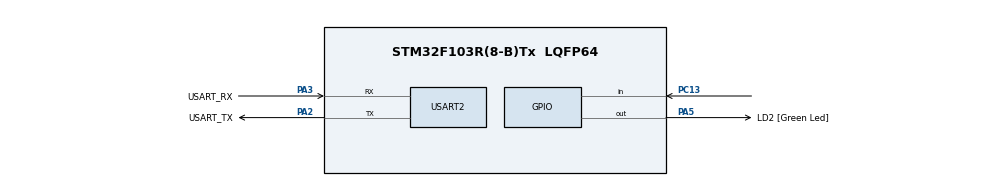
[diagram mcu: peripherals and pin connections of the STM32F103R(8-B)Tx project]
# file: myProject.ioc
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Mcu.Family=STM32F1
PC15-OSC32_OUT.Mode=LSE-External-Oscillator
PA2.GPIO_PuPd=GPIO_NOPULL
PD1-OSC_OUT.Mode=HSE-External-Clock-Source
PA14.GPIO_Label=TCK
PA3.GPIO_PuPd=GPIO_NOPULL
PA2.GPIO_Speed=GPIO_SPEED_FREQ_LOW
PC13-TAMPER-RTC.Signal=GPIO_Input
PD0-OSC_IN.Signal=RCC_OSC_IN
RCC.APB1CLKDivider=RCC_HCLK_DIV2
PC14-OSC32_IN.Signal=RCC_OSC32_IN
PA3.GPIO_Speed=GPIO_SPEED_FREQ_LOW
RCC.SYSCLKSource=RCC_SYSCLKSOURCE_PLLCLK
ProjectManager.StackSize=0x400
PD1-OSC_OUT.Signal=RCC_OSC_OUT
PA13.Signal=SYS_JTMS-SWDIO
PA3.Mode=Asynchronous
ProjectManager.TargetToolchain=MDK-ARM V5.27
PA3.GPIO_Mode=GPIO_MODE_AF_PP
RCC.HCLKFreq_Value=16000000
RCC.APB2TimFreq_Value=16000000
RCC.USBFreq_Value=16000000
PC15-OSC32_OUT.Signal=RCC_OSC32_OUT
RCC.AHBFreq_Value=16000000
PD0-OSC_IN.Mode=HSE-External-Clock-Source
PA5.Signal=GPIO_Output
board=NUCLEO-F103RB
RCC.RTCClockSelection=RCC_RTCCLKSOURCE_LSE
RCC.PLLMUL=RCC_PLL_MUL4
RCC.APB2Freq_Value=16000000
PC14-OSC32_IN.Mode=LSE-External-Oscillator
PA5.GPIO_ModeDefaultOutputPP=GPIO_MODE_OUTPUT_PP
PA14.Mode=Serial_Wire
PA5.GPIO_PuPd=GPIO_NOPULL
PA13.Mode=Serial_Wire
Mcu.Name=STM32F103R(8-B)Tx
PA2.Signal=USART2_TX
PA13.GPIO_Label=TMS
PB3.Signal=SYS_JTDO-TRACESWO
RCC.SYSCLKFreq_VALUE=16000000
Mcu.Package=LQFP64
PA5.GPIO_Label=LD2 [Green Led]
USART2.VirtualMode=VM_ASYNC
PA2.GPIO_Label=USART_TX
PA14.Signal=SYS_JTCK-SWCLK
ProjectManager.HeapSize=0x200
PA5.GPIO_Speed=GPIO_SPEED_FREQ_LOW
NVIC.PriorityGroup=NVIC_PRIORITYGROUP_4
RCC.APB1TimFreq_Value=16000000
PA2.Mode=Asynchronous
RCC.APB1Freq_Value=8000000
PA3.GPIO_Label=USART_RX
PA3.Signal=USART2_RX
PA2.GPIO_Mode=GPIO_MODE_AF_PP
PB3.GPIO_Label=SWO

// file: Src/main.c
/* USER CODE BEGIN Header */
/**
  ******************************************************************************
  * @file           : main.c
  * @brief          : Main program body
  ******************************************************************************
  * @attention
  *
  * <h2><center>&copy; Copyright (c) 2020 STMicroelectronics.
  * All rights reserved.</center></h2>
  *
  * This software component is licensed by ST under BSD 3-Clause license,
  * the "License"; You may not use this file except in compliance with the
  * License. You may obtain a copy of the License at:
  *                        opensource.org/licenses/BSD-3-Clause
  *
  ******************************************************************************
  */
/* USER CODE END Header */

//inclusion des bibliotheques
#include "main.h"
#include "usart.h"
#include "gpio.h"
#include "led.h"
#include "button.h"

/* USER CODE BEGIN PV */

//definitios des variables globales

	LED_TypeDef ledV; //led verte
	LED_TypeDef ledR; //led rouge
	LED_TypeDef ledO; //led orange
	LED_TypeDef ledB; //led blanche

	BUTTON_TypeDef buttonA; // button A en pull down
	BUTTON_TypeDef buttonB; // button B en pull down
	BUTTON_TypeDef buttonC; // button C en pull down
	BUTTON_TypeDef buttonD; // button D en pull down
	BUTTON_TypeDef buttonE; // button Valider en pull down

	uint8_t current_stateA; //pour récupéré l'état du bouton
	uint8_t current_stateB;
	uint8_t current_stateC;
	uint8_t current_stateD;
	uint8_t current_stateE;

	uint8_t box_open;//porte ourverte =1, porte fermée =0

/* USER CODE END PV */

void SystemClock_Config(void);

//définitions des prototypes de nos fonctions

void Led_Polling(LED_TypeDef *led2); //fait clogoter une led passée en parametre
uint8_t checkCombinaison(uint8_t num);//recupère les entrées des boutons dans des variables pour pouoir les tester par la suite
uint8_t testOpenning(uint8_t num1, uint8_t num2, uint8_t num3, uint8_t num4, uint8_t num5, uint8_t code1, uint8_t code2, uint8_t code3,
uint8_t code4, uint8_t code5);//test si la combinaison entrée est la bonne (5 c'est la bonne sinon ce n'est pas la bonne)

int main(void) //fonction pricipale
{
  /* USER CODE BEGIN 1 */

	//code défini par l'user
		uint8_t code1=5;
		uint8_t code2=5;
		uint8_t code3=5;
		uint8_t code4=5;
		uint8_t code5=5;

	//boutons représentant le digicode (prends une valeur entre 0 et 3 A=0, B=1, C=2, D=3, E=4)
		uint8_t num1 =5;
		uint8_t num2 =5;
		uint8_t num3 =5;
		uint8_t num4 =5;
		uint8_t num5 =5;

	uint8_t result=0;//variable stockage

	box_open =1;//coffre ouvert à l'origine

  /* USER CODE END 1 */

  /* MCU Configuration--------------------------------------------------------*/

  /* Reset of all peripherals, Initializes the Flash interface and the Systick. */

  LL_APB2_GRP1_EnableClock(LL_APB2_GRP1_PERIPH_AFIO);
  LL_APB1_GRP1_EnableClock(LL_APB1_GRP1_PERIPH_PWR);

  NVIC_SetPriorityGrouping(NVIC_PRIORITYGROUP_4);

  /* System interrupt init*/

  /** NOJTAG: JTAG-DP Disabled and SW-DP Enabled
  */
  LL_GPIO_AF_Remap_SWJ_NOJTAG();

  /* Configure the system clock */
  SystemClock_Config();

  /* Initialize all configured peripherals */
  MX_GPIO_Init();
  MX_USART2_UART_Init();
  /* USER CODE BEGIN 2 */
//initialisation des Led avec les pin auquels elles sont connectées
		Led_init(&ledV, GPIOA, 6);
		Led_init(&ledR, GPIOA, 7);
		Led_init(&ledO, GPIOA, 8);
		Led_init(&ledB, GPIOA, 9);

//on définit les led comme toutes eteintes au début du code par sécurité
		Led_turnOff(&ledV);
		Led_turnOff(&ledR);
		Led_turnOff(&ledO);
		Led_turnOff(&ledB);

//initialisation des boutons avec les pin auquels ils sont connectés en pull down
		Button_init(&buttonA, GPIOB, 1,  LL_GPIO_PD);
		Button_init(&buttonB, GPIOB, 2,  LL_GPIO_PD);
		Button_init(&buttonC, GPIOB, 3,  LL_GPIO_PD);
		Button_init(&buttonD, GPIOB, 4,  LL_GPIO_PD);
		Button_init(&buttonE, GPIOB, 5,  LL_GPIO_PD);

//on récupère l'état des boutons
		current_stateA = Button_State(&buttonA);
		current_stateB = Button_State(&buttonB);
		current_stateC = Button_State(&buttonC);
		current_stateD = Button_State(&buttonD);
		current_stateE = Button_State(&buttonE);

		box_open = 1;//laporte est ouverte au lancement du code

  /* USER CODE END 2 */

  /* Infinite loop */
  /* USER CODE BEGIN WHILE */
  while (1)//loop infinie
  {

		if(box_open == 0)//si la porte est fermée
		{
			while(num1==5 || num2==5 ||num3==5 || num4==5 || num5==5)//tant que l'utilisateur n'a pas tapé 5 fois sur un ou plusieurs boutons
			{
				while(num1==5)//tant que l'utilisateur n'a pas tapé 1 fois sur un bouton
				{
					//on récupère l'état des boutons
					current_stateA = Button_State(&buttonA);
					current_stateB = Button_State(&buttonB);
					current_stateC = Button_State(&buttonC);
					current_stateD = Button_State(&buttonD);
					current_stateE = Button_State(&buttonE);

					num1=checkCombinaison(num1);//on appelle la fonction qui renvoie sur quel bouton on a appuyé
				}

				while(num2==5)//tant que l'utilisateur n'a pas tapé 2 fois sur un/des bouton(s)
				{
					//on récupère l'état des boutons
					current_stateA = Button_State(&buttonA);
					current_stateB = Button_State(&buttonB);
					current_stateC = Button_State(&buttonC);
					current_stateD = Button_State(&buttonD);
					current_stateE = Button_State(&buttonE);

					num2=checkCombinaison(num2);//on appelle la fonction qui renvoie sur quel bouton on a appuyé
				}

				while(num3==5)//tant que l'utilisateur n'a pas tapé 3 fois sur un/des bouton(s)
				{
					//on récupère l'état des boutons
					current_stateA = Button_State(&buttonA);
					current_stateB = Button_State(&buttonB);
					current_stateC = Button_State(&buttonC);
					current_stateD = Button_State(&buttonD);
					current_stateE = Button_State(&buttonE);

					num3=checkCombinaison(num3);//on appelle la fonction qui renvoie sur quel bouton on a appuyé

				}

				while(num4==5)//tant que l'utilisateur n'a pas tapé 4 fois sur un/des bouton(s)
				{
					//on récupère l'état des boutons
					current_stateA = Button_State(&buttonA);
					current_stateB = Button_State(&buttonB);
					current_stateC = Button_State(&buttonC);
					current_stateD = Button_State(&buttonD);
					current_stateE = Button_State(&buttonE);

					num4=checkCombinaison(num4);//on appelle la fonction qui renvoie sur quel bouton on a appuyé
				}

				while(num5==5)//tant que l'utilisateur n'a pas tapé 5 fois sur un/des bouton(s)
				{
					//on récupère l'état des boutons
					current_stateA = Button_State(&buttonA);
					current_stateB = Button_State(&buttonB);
					current_stateC = Button_State(&buttonC);
					current_stateD = Button_State(&buttonD);
					current_stateE = Button_State(&buttonE);

					num5=checkCombinaison(num5);//on appelle la fonction qui renvoie sur quel bouton on a appuyé
				}
			}

			result=testOpenning(num1,num2,num3,num4, num5, code1, code2, code3, code4, code5);//on appelle la fonction qui renvoie le nombre de boutons entrés correcte

			if(result == 5)//si toutes les entrées sont correctes (c'est la bonne séquence)
			{
				//on allume la led verte 3 secondes pour montrer que le code tapé est correcte , toutes les autres led sont eteintes par sécurité
				Led_turnOn(&ledV);
				Led_turnOff(&ledR);
				Led_turnOff(&ledB);
				box_open = 1;// on définit la porte comme ouverte
				LL_mDelay(3000);
				Led_turnOff(&ledV);
				Led_Polling(&ledO);//la led orange clignote pour simuler l'ouverture de la porte

			}
			else
			{
				//on allume la led rouge 3 secondes pour montrer que le code tapé est faux, toutes les autres led sont eteintes par sécurité
				Led_turnOff(&ledV);
				Led_turnOn(&ledR);
				Led_turnOff(&ledB);
				Led_turnOff(&ledO);
				LL_mDelay(3000);
				Led_turnOff(&ledR);

			}
			//reinitialisation des chiffres entrés pour puvoir retenté d'ouvrir le coffre
				num1=5;
				num2=5;
				num3=5;
				num4=5;
				num5=5;

			//reinitialisation du compteur pour pouvoir retenté d'ouvrir le coffre et par sécurité
			result=0;

		}
		else //box open == 1 ( la porte est ouverte)
		{
	//on allume la led blanche qui signifie qu'on est en train de changer le code et toutes les autres led sont eteintes par securité
			Led_turnOff(&ledV);
			Led_turnOff(&ledR);
			Led_turnOn(&ledB);
			Led_turnOff(&ledO);

			//on réinitialise le code pour que l'utilisateur puisse en saisir un nouveau
			code1=5;
			code2=5;
			code3=5;
			code4=5;
			code5=5;

			while(code1==5 || code2==5 || code3==5 || code4==5 || code5==5)//l'utilisateur n'a appuyé sur aucun bouton
			{

				while(code1==5)//tant que l'utilisateur n'a pas tapé 1 fois sur un bouton
				{
						//on récupère l'état des boutons
						current_stateA = Button_State(&buttonA);
						current_stateB = Button_State(&buttonB);
						current_stateC = Button_State(&buttonC);
						current_stateD = Button_State(&buttonD);
						current_stateE = Button_State(&buttonE);

					code1=checkCombinaison(code1);//on appelle la fonction qui renvoie sur quel bouton on a appuyé
					}
				while (code2==5)//tant que l'utilisateur n'a pas tapé 2 fois sur un/des bouton(s)
				{
					//on récupère l'état des boutons
					current_stateA = Button_State(&buttonA);
					current_stateB = Button_State(&buttonB);
					current_stateC = Button_State(&buttonC);
					current_stateD = Button_State(&buttonD);
					current_stateE = Button_State(&buttonE);

					code2=checkCombinaison(code2);//on appelle la fonction qui renvoie sur quel bouton on a appuyé
				}

				while(code3==5)//tant que l'utilisateur n'a pas tapé 3 fois sur un/des bouton(s)
				{
					//on récupère l'état des boutons
					current_stateA = Button_State(&buttonA);
					current_stateB = Button_State(&buttonB);
					current_stateC = Button_State(&buttonC);
					current_stateD = Button_State(&buttonD);
					current_stateE = Button_State(&buttonE);

					code3=checkCombinaison(code3);//on appelle la fonction qui renvoie sur quel bouton on a appuyé
				}

				while(code4==5)//tant que l'utilisateur n'a pas tapé 4 fois sur un/des bouton(s)
				{
					//on récupère l'état des boutons
					current_stateA = Button_State(&buttonA);
					current_stateB = Button_State(&buttonB);
					current_stateC = Button_State(&buttonC);
					current_stateD = Button_State(&buttonD);
					current_stateE = Button_State(&buttonE);

					code4=checkCombinaison(code4);//on appelle la fonction qui renvoie sur quel bouton on a appuyé
				}

				while(code5==5)//tant que l'utilisateur n'a pas tapé 5 fois sur un/des bouton(s)
				{
					//on récupère l'état des boutons
					current_stateA = Button_State(&buttonA);
					current_stateB = Button_State(&buttonB);
					current_stateC = Button_State(&buttonC);
					current_stateD = Button_State(&buttonD);
					current_stateE = Button_State(&buttonE);

					code5=checkCombinaison(code5);//on appelle la fonction qui renvoie sur quel bouton on a appuyé
				}
			}

			//on fait clignoter la led orange pour simuler la fermeture de la porte et qon éteind la led blanche pour signaler que l'on sort du mode "changement de code", toutes les autres led sont etientes par securite
			Led_turnOff(&ledV);
			Led_turnOff(&ledR);
			Led_turnOff(&ledB);
			Led_Polling(&ledO);
			Led_turnOff(&ledO);
			box_open = 0;// porte fermée
		}

		/* USER CODE END WHILE */

  }
}

void SystemClock_Config(void)
{
  LL_FLASH_SetLatency(LL_FLASH_LATENCY_0);

  if(LL_FLASH_GetLatency() != LL_FLASH_LATENCY_0)
  {
    Error_Handler();
  }
  LL_RCC_HSI_SetCalibTrimming(16);
  LL_RCC_HSI_Enable();

   /* Wait till HSI is ready */
  while(LL_RCC_HSI_IsReady() != 1)
  {

  }
  LL_RCC_PLL_ConfigDomain_SYS(LL_RCC_PLLSOURCE_HSI_DIV_2, LL_RCC_PLL_MUL_4);
  LL_RCC_PLL_Enable();

   /* Wait till PLL is ready */
  while(LL_RCC_PLL_IsReady() != 1)
  {

  }
  LL_RCC_SetAHBPrescaler(LL_RCC_SYSCLK_DIV_1);
  LL_RCC_SetAPB1Prescaler(LL_RCC_APB1_DIV_2);
  LL_RCC_SetAPB2Prescaler(LL_RCC_APB2_DIV_1);
  LL_RCC_SetSysClkSource(LL_RCC_SYS_CLKSOURCE_PLL);

   /* Wait till System clock is ready */
  while(LL_RCC_GetSysClkSource() != LL_RCC_SYS_CLKSOURCE_STATUS_PLL)
  {

  }
  LL_Init1msTick(16000000);
  LL_SetSystemCoreClock(16000000);
}

/* USER CODE BEGIN 4 */

	//fontion qui fait clignoter une led pendant 5sec
	void Led_Polling(LED_TypeDef *led2){
		for(uint8_t i=0; i<5; i++)
		{
			Led_toggle(led2);
			LL_mDelay(1000);
		}
	}

	//fonction qui recupère les entrées des boutons dans des variables pour pouoir les tester par la suite
	uint8_t checkCombinaison(uint8_t num)
	{
					if(current_stateA==1)
					{
						LL_mDelay(1000);
							if(current_stateA==1)
							{
								num=0;
							}
					}
					else if (current_stateB==1)
					{
						LL_mDelay(1000);
							if(current_stateB==1)
							{
								num=1;
							}
					}
					else if (current_stateC==1)
					{
						LL_mDelay(1000);
							if(current_stateC==1)
							{
								num=2;
							}
					}
					else if (current_stateD==1)
					{
						LL_mDelay(1000);
							if(current_stateD==1)
							{
								num=3;
							}
					}
					else if (current_stateE==1)
					{
						LL_mDelay(1000);
							if(current_stateE==1)
							{
								num=4;
							}
					}
				return num;
	}

	//fonction qui test si la combinaison entrée est la bonne (5 c'est la bonne sinon ce n'est pas la bonne)
	uint8_t testOpenning(uint8_t num1, uint8_t num2, uint8_t num3, uint8_t num4, uint8_t num5, uint8_t code1, uint8_t code2, uint8_t code3,
	uint8_t code4, uint8_t code5)
	{
		uint8_t result=0;

		if(num1 == code1)
			{
				result++;
			}
			if(num2 == code2)
			{
				result++;
			}
			if(num3 == code3)
			{
				result++;
			}
			if(num4 == code4)
			{
				result++;
			}
			if(num5 == code5)
			{
				result++;
			}
		return result;
	}

/* USER CODE END 4 */

void Error_Handler(void)
{
}

/************************ (C) COPYRIGHT STMicroelectronics *****END OF FILE****/
